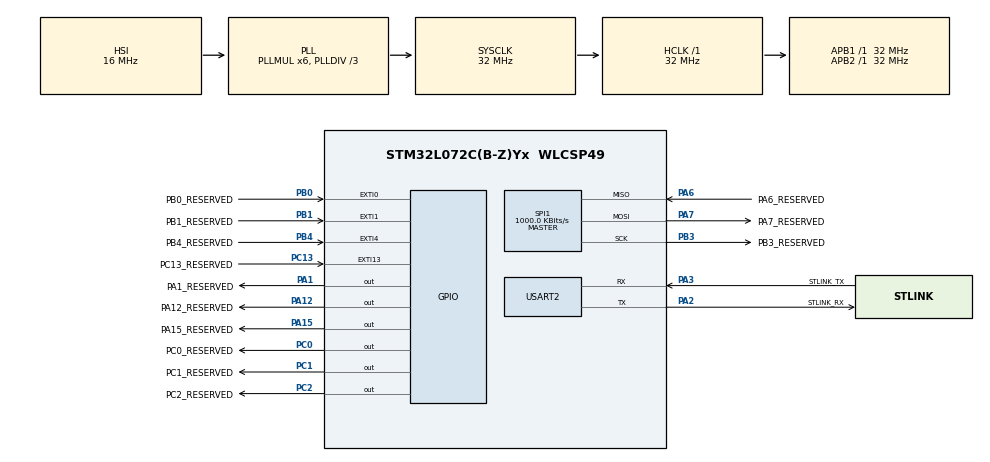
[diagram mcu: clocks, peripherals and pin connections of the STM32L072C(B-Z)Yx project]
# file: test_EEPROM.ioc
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Mcu.Family=STM32L0
Mcu.Name=STM32L072C(B-Z)Yx
Mcu.Package=WLCSP49
NVIC.EXTI0_1_IRQn=true\:0\:0\:false\:false\:true\:true\:true
NVIC.EXTI4_15_IRQn=true\:0\:0\:false\:false\:true\:true\:true
NVIC.RTC_IRQn=true\:0\:0\:false\:false\:true\:true\:true
NVIC.USART2_IRQn=true\:0\:0\:false\:false\:true\:true\:true
PA1.GPIO_Label=PA1_RESERVED
PA1.GPIO_Speed=GPIO_SPEED_FREQ_HIGH
PA1.PinState=GPIO_PIN_RESET
PA1.Signal=GPIO_Output
PA12.GPIO_Label=PA12_RESERVED
PA12.GPIO_Speed=GPIO_SPEED_FREQ_HIGH
PA12.Signal=GPIO_Output
PA15.GPIO_Label=PA15_RESERVED
PA15.GPIO_Speed=GPIO_SPEED_FREQ_HIGH
PA15.Signal=GPIO_Output
PA2.GPIO_Label=STLINK_RX
PA2.Mode=Asynchronous
PA2.Signal=USART2_TX
PA3.GPIO_Label=STLINK_TX
PA3.Mode=Asynchronous
PA3.Signal=USART2_RX
PA6.GPIO_Label=PA6_RESERVED
PA6.Mode=Full_Duplex_Master
PA6.Signal=SPI1_MISO
PA7.GPIO_Label=PA7_RESERVED
PA7.Mode=Full_Duplex_Master
PA7.Signal=SPI1_MOSI
PB0.GPIO_Label=PB0_RESERVED
PB0.Signal=GPXTI0
PB1.GPIO_Label=PB1_RESERVED
PB1.Signal=GPXTI1
PB3.GPIO_Label=PB3_RESERVED
PB3.Mode=Full_Duplex_Master
PB3.Signal=SPI1_SCK
PB4.GPIO_Label=PB4_RESERVED
PB4.Signal=GPXTI4
PC0.GPIO_Label=PC0_RESERVED
PC0.GPIO_Speed=GPIO_SPEED_FREQ_HIGH
PC0.Signal=GPIO_Output
PC1.GPIO_Label=PC1_RESERVED
PC1.GPIO_Speed=GPIO_SPEED_FREQ_HIGH
PC1.Signal=GPIO_Output
PC13.GPIO_Label=PC13_RESERVED
PC13.Signal=GPXTI13
PC2.GPIO_Label=PC2_RESERVED
PC2.GPIO_Speed=GPIO_SPEED_FREQ_HIGH
PC2.Signal=GPIO_Output
PH0-OSC_IN.Signal=RCC_OSC_IN
PH1-OSC_OUT.Signal=RCC_OSC_OUT
ProjectManager.HeapSize=0x200
ProjectManager.StackSize=0x400
ProjectManager.TargetToolchain=STM32CubeIDE
RCC.AHBFreq_Value=32000000
RCC.APB1Freq_Value=32000000
RCC.APB1TimFreq_Value=32000000
RCC.APB2Freq_Value=32000000
RCC.APB2TimFreq_Value=32000000
RCC.HCLKFreq_Value=32000000
RCC.HSE_VALUE=8000000
RCC.HSI16_VALUE=16000000
RCC.HSI48_VALUE=48000000
RCC.HSI_VALUE=16000000
RCC.LSE_VALUE=32768
RCC.MSI_VALUE=2097000
RCC.PLLDIV=RCC_PLLDIV_3
RCC.PLLMUL=RCC_PLLMUL_6
RCC.SYSCLKFreq_VALUE=32000000
RCC.SYSCLKSource=RCC_SYSCLKSOURCE_PLLCLK
RCC.VCOOutputFreq_Value=96000000
RTC.Alarm-Alarm\ A=RTC_ALARM_A
RTC.AlarmSubSecondMask-Alarm\ A=RTC_ALARMSUBSECONDMASK_NONE
RTC.AsynchPrediv=31
RTC.Format=RTC_FORMAT_BIN
RTC.SynchPrediv=1023
SPI1.BaudRatePrescaler=SPI_BAUDRATEPRESCALER_32
SPI1.CalculateBaudRate=1000.0 KBits/s
SPI1.Direction=SPI_DIRECTION_2LINES
SPI1.Mode=SPI_MODE_MASTER
SPI1.VirtualType=VM_MASTER
USART2.VirtualMode-Asynchronous=VM_ASYNC
VP_RTC_VS_RTC_Activate.Mode=RTC_Enabled
VP_RTC_VS_RTC_Alarm_A_Intern.Mode=Alarm A
VP_RTC_VS_RTC_Calendar.Mode=RTC_Calendar
board=B-L072Z-LRWAN1

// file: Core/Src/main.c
/* USER CODE BEGIN Header */
/**
  ******************************************************************************
  * @file           : main.c
  * @brief          : Main program body
  ******************************************************************************
  * @attention
  *
  * <h2><center>&copy; Copyright (c) 2019 STMicroelectronics.
  * All rights reserved.</center></h2>
  *
  * This software component is licensed by ST under BSD 3-Clause license,
  * the "License"; You may not use this file except in compliance with the
  * License. You may obtain a copy of the License at:
  *                        opensource.org/licenses/BSD-3-Clause
  *
  ******************************************************************************
  */
/* USER CODE END Header */

#include "main.h"

RTC_HandleTypeDef hrtc;

SPI_HandleTypeDef hspi1;

UART_HandleTypeDef huart2;

void SystemClock_Config(void);
static void MX_GPIO_Init(void);
static void MX_RTC_Init(void);
static void MX_SPI1_Init(void);
static void MX_USART2_UART_Init(void);

/* USER CODE BEGIN 0 */
void writeToEEPROM (uint32_t address, uint32_t value)
{
	HAL_StatusTypeDef flash_ok;
	for (flash_ok = HAL_ERROR; flash_ok != HAL_OK; )
	{
		flash_ok = HAL_FLASHEx_DATAEEPROM_Unlock();
	}
	for (flash_ok = HAL_ERROR; flash_ok != HAL_OK; )
	{
		flash_ok = HAL_FLASHEx_DATAEEPROM_Erase(address);
	}
	for (flash_ok = HAL_ERROR; flash_ok != HAL_OK; )
	{
		flash_ok = HAL_FLASHEx_DATAEEPROM_Program(FLASH_TYPEPROGRAMDATA_WORD, address, value);
	}
	for (flash_ok = HAL_ERROR; flash_ok != HAL_OK; )
	{
		flash_ok = HAL_FLASHEx_DATAEEPROM_Lock();
	}
}

uint32_t readFromEEPROM (uint32_t address)
{
	return (*( uint32_t *)address);
}
/* USER CODE END 0 */

int main(void)
{

  /* MCU Configuration--------------------------------------------------------*/

  /* Reset of all peripherals, Initializes the Flash interface and the Systick. */
  HAL_Init();

  /* Configure the system clock */
  SystemClock_Config();

  /* Initialize all configured peripherals */
  MX_GPIO_Init();
  MX_RTC_Init();
  MX_SPI1_Init();
  MX_USART2_UART_Init();

  /* Infinite loop */
  /* USER CODE BEGIN WHILE */
  while (1)
  {
	  uint8_t buff[5];
	  if (HAL_UART_Receive(&huart2, buff, 1, 500) == HAL_OK) {
		  if (buff[0] == 'w') {
			  if (HAL_UART_Receive(&huart2, &buff[1], 4, 50) == HAL_OK) {
				  HAL_UART_Transmit(&huart2, (uint8_t*)"Write", 5, 500);
				  writeToEEPROM(0x08080000, (buff[4] << 24) | (buff[3] << 16) | (buff[2] << 8) | buff[1]);
			  }
		  } else if (buff[0] == 'r') {
			  HAL_UART_Transmit(&huart2, (uint8_t*)"Read", 4, 500);
			  uint32_t read = readFromEEPROM(0x08080000);
			  HAL_UART_Transmit(&huart2, (uint8_t*)&read, 4, 500);
		  } else {
			  HAL_UART_Transmit(&huart2, (uint8_t*)"Error", 5, 500);
		  }
	  }
    /* USER CODE END WHILE */

  }
}

void SystemClock_Config(void)
{
  RCC_OscInitTypeDef RCC_OscInitStruct = {0};
  RCC_ClkInitTypeDef RCC_ClkInitStruct = {0};
  RCC_PeriphCLKInitTypeDef PeriphClkInit = {0};

  /** Configure the main internal regulator output voltage
  */
  __HAL_PWR_VOLTAGESCALING_CONFIG(PWR_REGULATOR_VOLTAGE_SCALE1);
  /** Initializes the CPU, AHB and APB busses clocks
  */
  RCC_OscInitStruct.OscillatorType = RCC_OSCILLATORTYPE_HSI|RCC_OSCILLATORTYPE_LSI;
  RCC_OscInitStruct.HSIState = RCC_HSI_ON;
  RCC_OscInitStruct.HSICalibrationValue = RCC_HSICALIBRATION_DEFAULT;
  RCC_OscInitStruct.LSIState = RCC_LSI_ON;
  RCC_OscInitStruct.PLL.PLLState = RCC_PLL_ON;
  RCC_OscInitStruct.PLL.PLLSource = RCC_PLLSOURCE_HSI;
  RCC_OscInitStruct.PLL.PLLMUL = RCC_PLLMUL_6;
  RCC_OscInitStruct.PLL.PLLDIV = RCC_PLLDIV_3;
  if (HAL_RCC_OscConfig(&RCC_OscInitStruct) != HAL_OK)
  {
    Error_Handler();
  }
  /** Initializes the CPU, AHB and APB busses clocks
  */
  RCC_ClkInitStruct.ClockType = RCC_CLOCKTYPE_HCLK|RCC_CLOCKTYPE_SYSCLK
                              |RCC_CLOCKTYPE_PCLK1|RCC_CLOCKTYPE_PCLK2;
  RCC_ClkInitStruct.SYSCLKSource = RCC_SYSCLKSOURCE_PLLCLK;
  RCC_ClkInitStruct.AHBCLKDivider = RCC_SYSCLK_DIV1;
  RCC_ClkInitStruct.APB1CLKDivider = RCC_HCLK_DIV1;
  RCC_ClkInitStruct.APB2CLKDivider = RCC_HCLK_DIV1;

  if (HAL_RCC_ClockConfig(&RCC_ClkInitStruct, FLASH_LATENCY_1) != HAL_OK)
  {
    Error_Handler();
  }
  PeriphClkInit.PeriphClockSelection = RCC_PERIPHCLK_USART2|RCC_PERIPHCLK_RTC;
  PeriphClkInit.Usart2ClockSelection = RCC_USART2CLKSOURCE_PCLK1;
  PeriphClkInit.RTCClockSelection = RCC_RTCCLKSOURCE_LSI;
  if (HAL_RCCEx_PeriphCLKConfig(&PeriphClkInit) != HAL_OK)
  {
    Error_Handler();
  }
}

static void MX_RTC_Init(void)
{

  RTC_TimeTypeDef sTime = {0};
  RTC_DateTypeDef sDate = {0};
  RTC_AlarmTypeDef sAlarm = {0};

  /** Initialize RTC Only
  */
  hrtc.Instance = RTC;
  hrtc.Init.HourFormat = RTC_HOURFORMAT_24;
  hrtc.Init.AsynchPrediv = 31;
  hrtc.Init.SynchPrediv = 1023;
  hrtc.Init.OutPut = RTC_OUTPUT_DISABLE;
  hrtc.Init.OutPutRemap = RTC_OUTPUT_REMAP_NONE;
  hrtc.Init.OutPutPolarity = RTC_OUTPUT_POLARITY_HIGH;
  hrtc.Init.OutPutType = RTC_OUTPUT_TYPE_OPENDRAIN;
  if (HAL_RTC_Init(&hrtc) != HAL_OK)
  {
    Error_Handler();
  }

  /** Initialize RTC and set the Time and Date
  */
  sTime.Hours = 0;
  sTime.Minutes = 0;
  sTime.Seconds = 0;
  sTime.DayLightSaving = RTC_DAYLIGHTSAVING_NONE;
  sTime.StoreOperation = RTC_STOREOPERATION_RESET;
  if (HAL_RTC_SetTime(&hrtc, &sTime, RTC_FORMAT_BIN) != HAL_OK)
  {
    Error_Handler();
  }
  sDate.WeekDay = RTC_WEEKDAY_MONDAY;
  sDate.Month = RTC_MONTH_JANUARY;
  sDate.Date = 1;
  sDate.Year = 0;

  if (HAL_RTC_SetDate(&hrtc, &sDate, RTC_FORMAT_BIN) != HAL_OK)
  {
    Error_Handler();
  }
  /** Enable the Alarm A
  */
  sAlarm.AlarmTime.Hours = 0;
  sAlarm.AlarmTime.Minutes = 0;
  sAlarm.AlarmTime.Seconds = 0;
  sAlarm.AlarmTime.SubSeconds = 0;
  sAlarm.AlarmTime.DayLightSaving = RTC_DAYLIGHTSAVING_NONE;
  sAlarm.AlarmTime.StoreOperation = RTC_STOREOPERATION_RESET;
  sAlarm.AlarmMask = RTC_ALARMMASK_NONE;
  sAlarm.AlarmSubSecondMask = RTC_ALARMSUBSECONDMASK_NONE;
  sAlarm.AlarmDateWeekDaySel = RTC_ALARMDATEWEEKDAYSEL_DATE;
  sAlarm.AlarmDateWeekDay = 1;
  sAlarm.Alarm = RTC_ALARM_A;
  if (HAL_RTC_SetAlarm_IT(&hrtc, &sAlarm, RTC_FORMAT_BIN) != HAL_OK)
  {
    Error_Handler();
  }

}

static void MX_SPI1_Init(void)
{

  /* SPI1 parameter configuration*/
  hspi1.Instance = SPI1;
  hspi1.Init.Mode = SPI_MODE_MASTER;
  hspi1.Init.Direction = SPI_DIRECTION_2LINES;
  hspi1.Init.DataSize = SPI_DATASIZE_8BIT;
  hspi1.Init.CLKPolarity = SPI_POLARITY_LOW;
  hspi1.Init.CLKPhase = SPI_PHASE_1EDGE;
  hspi1.Init.NSS = SPI_NSS_SOFT;
  hspi1.Init.BaudRatePrescaler = SPI_BAUDRATEPRESCALER_32;
  hspi1.Init.FirstBit = SPI_FIRSTBIT_MSB;
  hspi1.Init.TIMode = SPI_TIMODE_DISABLE;
  hspi1.Init.CRCCalculation = SPI_CRCCALCULATION_DISABLE;
  hspi1.Init.CRCPolynomial = 7;
  if (HAL_SPI_Init(&hspi1) != HAL_OK)
  {
    Error_Handler();
  }

}

static void MX_USART2_UART_Init(void)
{

  huart2.Instance = USART2;
  huart2.Init.BaudRate = 115200;
  huart2.Init.WordLength = UART_WORDLENGTH_8B;
  huart2.Init.StopBits = UART_STOPBITS_1;
  huart2.Init.Parity = UART_PARITY_NONE;
  huart2.Init.Mode = UART_MODE_TX_RX;
  huart2.Init.HwFlowCtl = UART_HWCONTROL_NONE;
  huart2.Init.OverSampling = UART_OVERSAMPLING_16;
  huart2.Init.OneBitSampling = UART_ONE_BIT_SAMPLE_DISABLE;
  huart2.AdvancedInit.AdvFeatureInit = UART_ADVFEATURE_NO_INIT;
  if (HAL_UART_Init(&huart2) != HAL_OK)
  {
    Error_Handler();
  }

}

static void MX_GPIO_Init(void)
{
  GPIO_InitTypeDef GPIO_InitStruct = {0};

  /* GPIO Ports Clock Enable */
  __HAL_RCC_GPIOA_CLK_ENABLE();
  __HAL_RCC_GPIOB_CLK_ENABLE();
  __HAL_RCC_GPIOC_CLK_ENABLE();
  __HAL_RCC_GPIOH_CLK_ENABLE();

  /*Configure GPIO pin Output Level */
  HAL_GPIO_WritePin(GPIOA, PA15_RESERVED_Pin|PA12_RESERVED_Pin|PA1_RESERVED_Pin, GPIO_PIN_RESET);

  /*Configure GPIO pin Output Level */
  HAL_GPIO_WritePin(GPIOC, PC1_RESERVED_Pin|PC0_RESERVED_Pin|PC2_RESERVED_Pin, GPIO_PIN_RESET);

  /*Configure GPIO pins : PA15_RESERVED_Pin PA12_RESERVED_Pin PA1_RESERVED_Pin */
  GPIO_InitStruct.Pin = PA15_RESERVED_Pin|PA12_RESERVED_Pin|PA1_RESERVED_Pin;
  GPIO_InitStruct.Mode = GPIO_MODE_OUTPUT_PP;
  GPIO_InitStruct.Pull = GPIO_NOPULL;
  GPIO_InitStruct.Speed = GPIO_SPEED_FREQ_HIGH;
  HAL_GPIO_Init(GPIOA, &GPIO_InitStruct);

  /*Configure GPIO pins : PB4_RESERVED_Pin PB1_RESERVED_Pin PB0_RESERVED_Pin */
  GPIO_InitStruct.Pin = PB4_RESERVED_Pin|PB1_RESERVED_Pin|PB0_RESERVED_Pin;
  GPIO_InitStruct.Mode = GPIO_MODE_IT_RISING;
  GPIO_InitStruct.Pull = GPIO_NOPULL;
  HAL_GPIO_Init(GPIOB, &GPIO_InitStruct);

  /*Configure GPIO pin : PC13_RESERVED_Pin */
  GPIO_InitStruct.Pin = PC13_RESERVED_Pin;
  GPIO_InitStruct.Mode = GPIO_MODE_IT_RISING;
  GPIO_InitStruct.Pull = GPIO_NOPULL;
  HAL_GPIO_Init(PC13_RESERVED_GPIO_Port, &GPIO_InitStruct);

  /*Configure GPIO pins : PC1_RESERVED_Pin PC0_RESERVED_Pin PC2_RESERVED_Pin */
  GPIO_InitStruct.Pin = PC1_RESERVED_Pin|PC0_RESERVED_Pin|PC2_RESERVED_Pin;
  GPIO_InitStruct.Mode = GPIO_MODE_OUTPUT_PP;
  GPIO_InitStruct.Pull = GPIO_NOPULL;
  GPIO_InitStruct.Speed = GPIO_SPEED_FREQ_HIGH;
  HAL_GPIO_Init(GPIOC, &GPIO_InitStruct);

  /* EXTI interrupt init*/
  HAL_NVIC_SetPriority(EXTI0_1_IRQn, 0, 0);
  HAL_NVIC_EnableIRQ(EXTI0_1_IRQn);

  HAL_NVIC_SetPriority(EXTI4_15_IRQn, 0, 0);
  HAL_NVIC_EnableIRQ(EXTI4_15_IRQn);

}

void Error_Handler(void)
{
}

/************************ (C) COPYRIGHT STMicroelectronics *****END OF FILE****/
